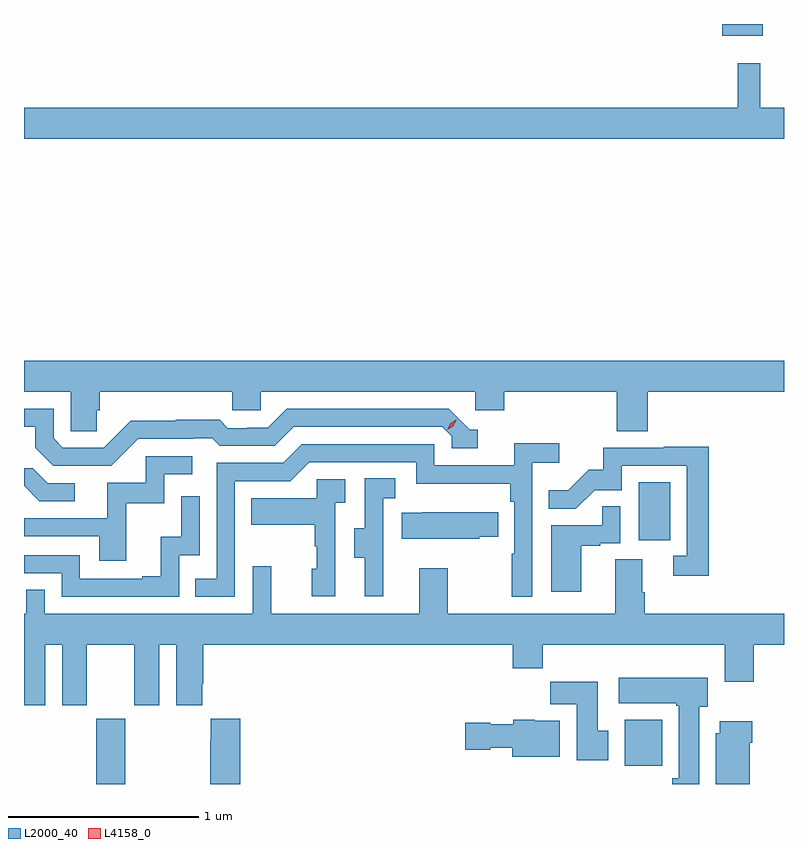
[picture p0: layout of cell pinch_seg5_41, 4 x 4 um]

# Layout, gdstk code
import gdstk
lib = gdstk.Library(unit=1e-6, precision=1e-09)
def R(c, l, rs):  # rectangles x0, y0, x1, y1
    for r in rs: c.add(gdstk.rectangle(r[:2], r[2:], *l))
def P(c, l, *ps):  # polygons
    for p in ps: c.add(gdstk.Polygon(p, *l))
L2000_40 = (2000, 40)
L4158_0 = (4158, 0)

pinch_seg5_41 = lib.new_cell('pinch_seg5_41')
R(pinch_seg5_41, L2000_40, [(1092.019,906.644,1092.174,906.988), (1094.801,906.74,1094.998,906.982), (1094.876,907.926,1095.04,908.233), (1095.314,910.583,1095.529,910.644)])
P(pinch_seg5_41, L2000_40, [(1095.64,910.204),(1095.515,910.204),(1095.515,910.438),(1095.397,910.438),(1095.397,910.204),(1091.64,910.204),(1091.64,910.04),(1095.64,910.04)],
  [(1092.023,908.61),(1092.038,908.61),(1092.038,908.708),(1092.735,908.708),(1092.735,908.61),(1092.885,908.61),(1092.885,908.708),(1094.016,908.708),(1094.016,908.61),(1094.168,908.61),(1094.168,908.708),(1094.759,908.708),(1094.759,908.5),(1094.924,908.5),(1094.924,908.708),(1095.64,908.708),(1095.64,908.872),(1091.64,908.872),(1091.64,908.708),(1091.886,908.708),(1091.886,908.5),(1092.023,908.5)],
  [(1092.24,908.46),(1092.533,908.46),(1092.533,908.463),(1092.632,908.463),(1092.671,908.424),(1092.96,908.424),(1093.059,908.523),(1093.842,908.523),(1093.89,908.475),(1093.89,908.412),(1094.029,908.412),(1094.029,908.508),(1093.986,908.508),(1093.875,908.619),(1093.022,908.619),(1092.923,908.52),(1092.816,908.52),(1092.816,908.517),(1092.713,908.517),(1092.671,908.56),(1092.438,908.56),(1092.438,908.557),(1092.202,908.557),(1092.06,908.415),(1091.844,908.415),(1091.796,908.463),(1091.796,908.619),(1091.64,908.619),(1091.64,908.523),(1091.699,908.523),(1091.699,908.413),(1091.793,908.319),(1092.099,908.319)],
  [(1092.75,908.238),(1093.041,908.238),(1093.14,908.337),(1093.704,908.337),(1093.704,908.225),(1094.2,908.225),(1094.2,908.129),(1094.22,908.129),(1094.22,907.856),(1094.208,907.856),(1094.208,907.629),(1094.316,907.629),(1094.316,908.336),(1094.458,908.336),(1094.458,908.438),(1094.219,908.438),(1094.219,908.322),(1093.8,908.322),(1093.8,908.433),(1093.103,908.433),(1093.004,908.334),(1092.654,908.334),(1092.654,907.725),(1092.541,907.725),(1092.541,907.629),(1092.75,907.629)],
  [(1095.245,908.42),(1095.007,908.42),(1095.007,908.415),(1094.689,908.415),(1094.689,908.298),(1094.612,908.298),(1094.505,908.191),(1094.401,908.191),(1094.401,908.092),(1094.545,908.092),(1094.643,908.19),(1094.787,908.19),(1094.787,908.319),(1095.129,908.319),(1095.129,907.845),(1095.057,907.845),(1095.057,907.74),(1095.245,907.74)],
  [(1092.179,908.121),(1092.378,908.121),(1092.378,908.274),(1092.526,908.274),(1092.526,908.37),(1092.282,908.37),(1092.282,908.229),(1092.077,908.229),(1092.077,908.043),(1091.64,908.043),(1091.64,907.947),(1092.035,907.947),(1092.035,907.818),(1092.179,907.818)],
  [(1091.908,908.226),(1091.766,908.226),(1091.686,908.306),(1091.64,908.306),(1091.64,908.213),(1091.72,908.133),(1091.908,908.133)],
  [(1093.532,907.845),(1093.53,907.845),(1093.53,908.149),(1093.594,908.149),(1093.594,908.252),(1093.434,908.252),(1093.434,907.989),(1093.379,907.989),(1093.379,907.834),(1093.433,907.834),(1093.433,907.632),(1093.532,907.632)],
  [(1093.278,908.123),(1093.33,908.123),(1093.33,908.247),(1093.182,908.247),(1093.182,908.149),(1092.835,908.149),(1092.835,908.009),(1093.17,908.009),(1093.17,907.895),(1093.18,907.895),(1093.18,907.776),(1093.154,907.776),(1093.154,907.632),(1093.278,907.632)],
  [(1092.456,907.848),(1092.564,907.848),(1092.564,908.158),(1092.468,908.158),(1092.468,907.946),(1092.359,907.946),(1092.359,907.738),(1092.263,907.738),(1092.263,907.725),(1091.934,907.725),(1091.934,907.848),(1091.64,907.848),(1091.64,907.752),(1091.838,907.752),(1091.838,907.629),(1092.456,907.629)],
  [(1094.572,907.899),(1094.672,907.899),(1094.672,907.911),(1094.778,907.911),(1094.778,908.105),(1094.683,908.105),(1094.683,908.007),(1094.414,908.007),(1094.414,907.656),(1094.572,907.656)],
  [(1094.037,907.945),(1094.135,907.945),(1094.135,908.074),(1093.735,908.074),(1093.735,908.071),(1093.627,908.071),(1093.627,907.934),(1094.037,907.934)],
  [(1091.752,907.376),(1091.84,907.376),(1091.84,907.059),(1091.971,907.059),(1091.971,907.376),(1092.221,907.376),(1092.221,907.059),(1092.352,907.059),(1092.352,907.376),(1092.44,907.376),(1092.44,907.059),(1092.577,907.059),(1092.577,907.171),(1092.584,907.171),(1092.584,907.376),(1094.213,907.376),(1094.213,907.252),(1094.369,907.252),(1094.369,907.376),(1095.329,907.376),(1095.329,907.182),(1095.482,907.182),(1095.482,907.376),(1095.64,907.376),(1095.64,907.54),(1094.906,907.54),(1094.906,907.652),(1094.893,907.652),(1094.893,907.826),(1094.753,907.826),(1094.753,907.54),(1093.869,907.54),(1093.869,907.78),(1093.721,907.78),(1093.721,907.54),(1092.941,907.54),(1092.941,907.789),(1092.843,907.789),(1092.843,907.54),(1091.748,907.54),(1091.748,907.667),(1091.652,907.667),(1091.652,907.54),(1091.64,907.54),(1091.64,907.059),(1091.752,907.059)],
  [(1095.193,907.05),(1095.238,907.05),(1095.238,907.204),(1094.769,907.204),(1094.769,907.07),(1095.073,907.07),(1095.073,907.057),(1095.086,907.057),(1095.086,906.674),(1095.053,906.674),(1095.053,906.644),(1095.193,906.644)],
  [(1094.716,906.924),(1094.659,906.924),(1094.659,907.183),(1094.41,907.183),(1094.41,907.064),(1094.549,907.064),(1094.549,906.768),(1094.716,906.768)],
  [(1092.779,906.988),(1092.623,906.988),(1092.623,906.875),(1092.619,906.875),(1092.619,906.644),(1092.779,906.644)],
  [(1094.461,906.976),(1094.328,906.976),(1094.328,906.982),(1094.214,906.982),(1094.214,906.958),(1094.094,906.958),(1094.094,906.966),(1093.962,906.966),(1093.962,906.824),(1094.094,906.824),(1094.094,906.836),(1094.21,906.836),(1094.21,906.788),(1094.461,906.788)],
  [(1095.46,906.86),(1095.473,906.86),(1095.473,906.973),(1095.302,906.973),(1095.302,906.912),(1095.281,906.912),(1095.281,906.644),(1095.46,906.644)])
P(pinch_seg5_41, L4158_0, [(1093.867,908.508),(1093.867,908.509),(1093.883,908.541),(1093.913,908.561),(1093.914,908.561),(1093.914,908.56),(1093.898,908.528),(1093.867,908.508)])

lib.write_gds('pinch_seg5_41.gds')
